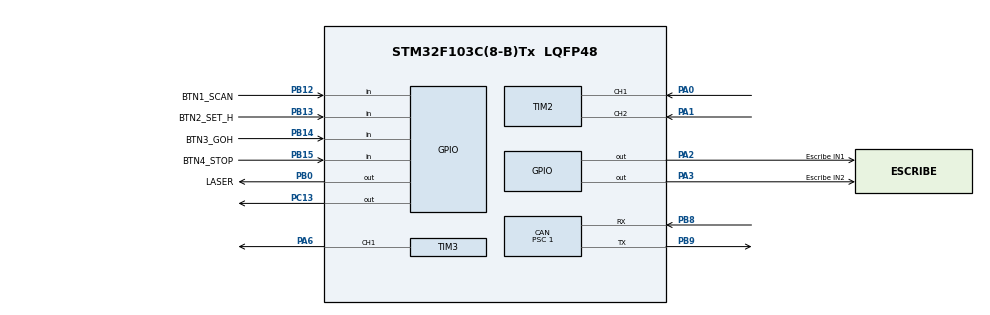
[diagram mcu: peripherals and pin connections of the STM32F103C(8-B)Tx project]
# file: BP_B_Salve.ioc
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CAN.BS1=CAN_BS1_13TQ
CAN.BS2=CAN_BS2_2TQ
CAN.CalculateBaudRate=500000
CAN.CalculateTimeBit=2000
CAN.CalculateTimeQuantum=125.0
CAN.Prescaler=1
Mcu.Family=STM32F1
Mcu.Name=STM32F103C(8-B)Tx
Mcu.Package=LQFP48
NVIC.PriorityGroup=NVIC_PRIORITYGROUP_4
PA0-WKUP.Signal=S_TIM2_CH1_ETR
PA1.Signal=S_TIM2_CH2
PA13.Mode=Serial_Wire
PA13.Signal=SYS_JTMS-SWDIO
PA14.Mode=Serial_Wire
PA14.Signal=SYS_JTCK-SWCLK
PA2.GPIO_Label=Escribe IN1
PA2.Signal=GPIO_Output
PA3.GPIO_Label=Escribe IN2
PA3.Signal=GPIO_Output
PA6.Signal=S_TIM3_CH1
PB0.GPIO_Label=LASER
PB0.Signal=GPIO_Output
PB12.GPIO_Label=BTN1_SCAN
PB12.GPIO_PuPd=GPIO_PULLUP
PB12.Signal=GPIO_Input
PB13.GPIO_Label=BTN2_SET_H
PB13.GPIO_PuPd=GPIO_PULLUP
PB13.Signal=GPIO_Input
PB14.GPIO_Label=BTN3_GOH
PB14.GPIO_PuPd=GPIO_PULLUP
PB14.Signal=GPIO_Input
PB15.GPIO_Label=BTN4_STOP
PB15.GPIO_PuPd=GPIO_PULLUP
PB15.Signal=GPIO_Input
PB8.Mode=CAN_Activate
PB8.Signal=CAN_RX
PB9.Mode=CAN_Activate
PB9.Signal=CAN_TX
PC13-TAMPER-RTC.PinState=GPIO_PIN_SET
PC13-TAMPER-RTC.Signal=GPIO_Output
PD0-OSC_IN.Mode=HSE-External-Oscillator
PD0-OSC_IN.Signal=RCC_OSC_IN
PD1-OSC_OUT.Mode=HSE-External-Oscillator
PD1-OSC_OUT.Signal=RCC_OSC_OUT
ProjectManager.HeapSize=0x200
ProjectManager.StackSize=0x400
ProjectManager.TargetToolchain=STM32CubeIDE
RCC.APB1Freq_Value=8000000
RCC.APB2Freq_Value=8000000
SH.S_TIM2_CH1_ETR.0=TIM2_CH1,Encoder_Interface
SH.S_TIM2_CH2.0=TIM2_CH2,Encoder_Interface
SH.S_TIM3_CH1.0=TIM3_CH1,PWM Generation1 CH1
TIM2.IC1Filter=6
TIM3.AutoReloadPreload=TIM_AUTORELOAD_PRELOAD_ENABLE
TIM3.Channel-PWM\ Generation1\ CH1=TIM_CHANNEL_1
TIM3.Period=999
TIM3.Prescaler=71
board=custom

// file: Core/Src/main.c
/* USER CODE BEGIN Header */
/**
  ******************************************************************************
  * @file           : main.c
  * @brief          : Main program body
  ******************************************************************************
  * @attention
  *
  * Copyright (c) 2026 STMicroelectronics.
  * All rights reserved.
  *
  * This software is licensed under terms that can be found in the LICENSE file
  * in the root directory of this software component.
  * If no LICENSE file comes with this software, it is provided AS-IS.
  *
  ******************************************************************************
  */
/* USER CODE END Header */
#include "main.h"
#include "can.h"
#include "tim.h"
#include "gpio.h"

/* USER CODE BEGIN Includes */
#include <stdlib.h>
/* USER CODE END Includes */

/* USER CODE BEGIN PTD */
typedef enum {
  STATE_IDLE = 0,
  STATE_SCANNING,
  STATE_HOMING_LOCKED,
  STATE_GO_TO_HOME,
  STATE_ERROR_LIMIT
} SystemState_t;

typedef enum {
  SCAN_PHASE_FORWARD = 0,   /* Girando hacia adelante (+2 vueltas) */
  SCAN_PHASE_PAUSE_FWD,     /* Pausa de 1s con motor frenado */
  SCAN_PHASE_REVERSE,       /* Girando hacia atrás (-2 vueltas) */
  SCAN_PHASE_PAUSE_REV      /* Pausa de 1s con motor frenado */
} ScanPhase_t;
/* USER CODE END PTD */

/* USER CODE BEGIN PD */
/* --- PARÁMETROS DEL ENCODER, TORNILLO SIN FIN Y ENGRANAJE --- */
#define ENCODER_PPR            30     /* Pulsos por revolución del eje del motor */
/* En modo TI1 (x2) se generan 2 cuentas en el timer por cada pulso */
#define TICKS_PER_MOTOR_REV    (ENCODER_PPR * 2) /* 60 cuentas por 1 vuelta del motor */

/* Transmisión: Tornillo sin fin (1 entrada) -> Engranaje de 40 dientes (Radio = 15 mm)
 * 1 vuelta del tornillo sin fin avanza 1 diente del engranaje (relación 40:1).
 * Por lo tanto, 1 vuelta del engranaje = 40 vueltas del motor = 2400 ticks. */
#define WORM_STARTS            1      /* Entradas del tornillo sin fin */
#define GEAR_TEETH             40     /* Dientes del engranaje conducido */
#define GEAR_RADIUS_MM         15     /* Radio del engranaje (centro a cabeza de diente): 15 mm */
#define TICKS_PER_GEAR_REV     ((TICKS_PER_MOTOR_REV * GEAR_TEETH) / WORM_STARTS) /* 2400 cuentas por vuelta de engranaje */

#define SWEEP_GEAR_REVS        2      /* 2 vueltas completas del ENGRANAJE hacia cada sentido */
#define SWEEP_TARGET_TICKS     (TICKS_PER_GEAR_REV * SWEEP_GEAR_REVS) /* 4800 ticks (80 vueltas de motor) */
#define SWEEP_PAUSE_MS         1000   /* 1 segundo de retardo antes de cambiar de sentido */
#define SWEEP_DUTY             700    /* Fuerza de barrido en 700 (70% sobre 999) */

/* --- IMPULSO DE ARRANQUE (KICK-START PARA VENCER FRICCIÓN ESTÁTICA) --- */
#define KICK_DUTY              950    /* Golpe inicial de fuerza (95% sobre 999) al salir del reposo */
#define KICK_TIME_MS           35     /* Duración del empujón inicial en milisegundos */

/* Límite de seguridad amplio para permitir las 80 vueltas de motor (4800 ticks) con holgura */
#define MAX_ENCODER_LIMIT      25000

/* --- PARÁMETROS DEL CONTROLADOR DE POSICIÓN (IR A HOME) --- */
#define POS_DEADBAND_TICKS     5      /* Tolerancia de llegada en pulsos */
#define POS_MIN_DUTY           550    /* Fuerza mínima para vencer fricción en retorno */
#define POS_MAX_DUTY           700    /* Velocidad máxima de retorno */
#define GO_HOME_TIMEOUT_MS     30000  /* 30 s de tiempo máximo para desandar hasta 2 vueltas de engranaje */

#define ENCODER_POLARITY       1      /* Polaridad de encoder */
/* USER CODE END PD */

/* USER CODE BEGIN PV */
/* Estado del sistema y variables de posición */
volatile SystemState_t current_state = STATE_IDLE;
volatile int32_t total_encoder_ticks = 0;   /* Posición acumulada en 32 bits (anti-desbordamiento) */
volatile int16_t last_timer_cnt = 0;        /* Última lectura directa de CNT (16 bits) */
volatile int32_t home_position = 0;         /* Posición de referencia fijada */

/* Variables para el barrido oscilante por PPR */
volatile ScanPhase_t scan_phase = SCAN_PHASE_FORWARD;
int32_t leg_start_ticks = 0;                /* Posición de inicio de cada tramo de giro */
uint32_t scan_pause_timer = 0;              /* Temporizador no bloqueante para el delay de 1s */

/* Variables para control inteligente y anti-embalamiento de Go to Home */
volatile int8_t motor_dir_sign = 1;         /* Signo de dirección de motor (+1 o -1 auto-calibrado) */
int32_t go_home_initial_error = 0;
uint32_t go_home_start_time = 0;

/* Seguimiento del sentido actual del motor para el impulso de arranque (kick-start) */
int8_t current_motor_dir = 0;               /* 0: frenado, 1: adelante, -1: atrás */

/* Estados de anti-rebote no bloqueante para los 4 pulsadores locales */
uint8_t btn1_last = GPIO_PIN_SET;
uint8_t btn2_last = GPIO_PIN_SET;
uint8_t btn3_last = GPIO_PIN_SET;
uint8_t btn4_last = GPIO_PIN_SET;
uint32_t btn1_debounce_time = 0;
uint32_t btn2_debounce_time = 0;
uint32_t btn3_debounce_time = 0;
uint32_t btn4_debounce_time = 0;
/* USER CODE END PV */

void SystemClock_Config(void);
/* USER CODE BEGIN PFP */
void Motor_SetSpeed(int16_t speed);
void Encoder_Update(void);
uint8_t Button_Pressed(GPIO_TypeDef* port, uint16_t pin, uint8_t *last_state, uint32_t *last_time);
void CAN_Filter_Config(void);
void CAN_ProcessRxMessages(void);
/* USER CODE END PFP */

/* USER CODE BEGIN 0 */
/**
  * @brief  Ajusta el sentido de giro y la velocidad del motor DC con el puente H L298N.
  *         Incluye un "empujón" (kick-start) automático al arrancar desde reposo o cambiar
  *         de sentido para vencer la fricción estática del motor.
  * @param  speed: Valor entre -999 y +999
  */
void Motor_SetSpeed(int16_t speed)
{
  if (speed > 999) speed = 999;
  if (speed < -999) speed = -999;

  if (speed > 0)
  {
    HAL_GPIO_WritePin(GPIOA, Escribe_IN1_Pin, GPIO_PIN_SET);
    HAL_GPIO_WritePin(GPIOA, Escribe_IN2_Pin, GPIO_PIN_RESET);

    /* Si estaba detenido o girando al revés, dar golpe de arranque para vencer inercia */
    if (current_motor_dir != 1)
    {
      current_motor_dir = 1;
      if (speed < KICK_DUTY && KICK_TIME_MS > 0)
      {
        __HAL_TIM_SET_COMPARE(&htim3, TIM_CHANNEL_1, KICK_DUTY);
        HAL_Delay(KICK_TIME_MS);
      }
    }
    __HAL_TIM_SET_COMPARE(&htim3, TIM_CHANNEL_1, (uint32_t)speed);
  }
  else if (speed < 0)
  {
    HAL_GPIO_WritePin(GPIOA, Escribe_IN1_Pin, GPIO_PIN_RESET);
    HAL_GPIO_WritePin(GPIOA, Escribe_IN2_Pin, GPIO_PIN_SET);

    /* Si estaba detenido o girando al revés, dar golpe de arranque para vencer inercia */
    if (current_motor_dir != -1)
    {
      current_motor_dir = -1;
      if ((-speed) < KICK_DUTY && KICK_TIME_MS > 0)
      {
        __HAL_TIM_SET_COMPARE(&htim3, TIM_CHANNEL_1, KICK_DUTY);
        HAL_Delay(KICK_TIME_MS);
      }
    }
    __HAL_TIM_SET_COMPARE(&htim3, TIM_CHANNEL_1, (uint32_t)(-speed));
  }
  else
  {
    /* Freno activo */
    current_motor_dir = 0;
    HAL_GPIO_WritePin(GPIOA, Escribe_IN1_Pin, GPIO_PIN_RESET);
    HAL_GPIO_WritePin(GPIOA, Escribe_IN2_Pin, GPIO_PIN_RESET);
    __HAL_TIM_SET_COMPARE(&htim3, TIM_CHANNEL_1, 0);
  }
}

/**
  * @brief  Calcula los pulsos acumulados en 32 bits a partir de los 16 bits de TIM2
  */
void Encoder_Update(void)
{
  int16_t current_cnt = (int16_t)__HAL_TIM_GET_COUNTER(&htim2);
  int16_t delta = current_cnt - last_timer_cnt;
  last_timer_cnt = current_cnt;
  total_encoder_ticks += (ENCODER_POLARITY * delta);
}

/**
  * @brief  Detector de pulsación (flanco de bajada) con anti-rebote no bloqueante
  */
uint8_t Button_Pressed(GPIO_TypeDef* port, uint16_t pin, uint8_t *last_state, uint32_t *last_time)
{
  uint8_t current = HAL_GPIO_ReadPin(port, pin);
  uint8_t triggered = 0;

  if (current != *last_state)
  {
    if ((HAL_GetTick() - *last_time) > 40)
    {
      *last_time = HAL_GetTick();
      if (current == GPIO_PIN_RESET && *last_state == GPIO_PIN_SET)
      {
        triggered = 1;
      }
      *last_state = current;
    }
  }
  return triggered;
}

/**
  * @brief  Configuración del filtro CAN para recibir todos los mensajes en FIFO0
  */
void CAN_Filter_Config(void)
{
  CAN_FilterTypeDef sFilterConfig;

  sFilterConfig.FilterBank = 0;
  sFilterConfig.FilterMode = CAN_FILTERMODE_IDMASK;
  sFilterConfig.FilterScale = CAN_FILTERSCALE_32BIT;
  sFilterConfig.FilterIdHigh = 0x0000;
  sFilterConfig.FilterIdLow = 0x0000;
  sFilterConfig.FilterMaskIdHigh = 0x0000;
  sFilterConfig.FilterMaskIdLow = 0x0000;
  sFilterConfig.FilterFIFOAssignment = CAN_RX_FIFO0;
  sFilterConfig.FilterActivation = ENABLE;
  sFilterConfig.SlaveStartFilterBank = 14;

  if (HAL_CAN_ConfigFilter(&hcan, &sFilterConfig) != HAL_OK)
  {
    Error_Handler();
  }
}

/**
  * @brief  Procesa todos los mensajes pendientes en el FIFO0 de recepción CAN
  */
void CAN_ProcessRxMessages(void)
{
  CAN_RxHeaderTypeDef rxHeader;
  uint8_t rxData[8];

  while (HAL_CAN_GetRxFifoFillLevel(&hcan, CAN_RX_FIFO0) > 0)
  {
    if (HAL_CAN_GetRxMessage(&hcan, CAN_RX_FIFO0, &rxHeader, rxData) == HAL_OK)
    {
      /* Identificador 0x020 enviado por la Blue Pill A */
      if (rxHeader.StdId == 0x020 && rxHeader.DLC >= 1)
      {
        if (rxData[0] == 0x01)
        {
          HAL_GPIO_WritePin(LASER_GPIO_Port, LASER_Pin, GPIO_PIN_SET);   /* Encender LED PB0 */
        }
        else if (rxData[0] == 0x00)
        {
          HAL_GPIO_WritePin(LASER_GPIO_Port, LASER_Pin, GPIO_PIN_RESET); /* Apagar LED PB0 */
        }
      }
    }
    else
    {
      break;
    }
  }
}

/**
  * @brief  Callback de interrupción al recibir un frame CAN en el FIFO0
  */
void HAL_CAN_RxFifo0MsgPendingCallback(CAN_HandleTypeDef *hcanInstance)
{
  UNUSED(hcanInstance);
  CAN_ProcessRxMessages();
}
/* USER CODE END 0 */

int main(void)
{

  /* MCU Configuration--------------------------------------------------------*/

  /* Reset of all peripherals, Initializes the Flash interface and the Systick. */
  HAL_Init();

  /* Configure the system clock */
  SystemClock_Config();

  /* Initialize all configured peripherals */
  MX_GPIO_Init();
  MX_TIM2_Init();
  MX_TIM3_Init();
  MX_CAN_Init();
  /* USER CODE BEGIN 2 */
  /* Iniciar PWM de velocidad de motor (TIM3 Canal 1 en PA6 -> ENA del L298N) */
  HAL_TIM_PWM_Start(&htim3, TIM_CHANNEL_1);

  /* Iniciar lectura de Encoder en TIM2 (PA0 y PA1) */
  HAL_TIM_Encoder_Start(&htim2, TIM_CHANNEL_ALL);

  /* Iniciar periférico CAN y activar interrupciones de recepción */
  CAN_Filter_Config();
  if (HAL_CAN_Start(&hcan) != HAL_OK)
  {
    Error_Handler();
  }
  if (HAL_CAN_ActivateNotification(&hcan, CAN_IT_RX_FIFO0_MSG_PENDING) != HAL_OK)
  {
    Error_Handler();
  }

  /* Asegurar actuadores apagados al arrancar */
  Motor_SetSpeed(0);
  HAL_GPIO_WritePin(LASER_GPIO_Port, LASER_Pin, GPIO_PIN_RESET);

  /* Resetear contadores de posición y variables de referencia */
  __HAL_TIM_SET_COUNTER(&htim2, 0);
  last_timer_cnt = 0;
  total_encoder_ticks = 0;
  home_position = 0;
  current_state = STATE_IDLE;
  /* USER CODE END 2 */

  /* Infinite loop */
  /* USER CODE BEGIN WHILE */
  while (1)
  {
    /* 0. Verificar si llegaron mensajes por CAN en el FIFO0 (respaldo por polling + interrupción) */
    CAN_ProcessRxMessages();

    /* 1. Actualizar el conteo continuo del encoder (32 bits anti-desbordamiento) */
    Encoder_Update();

    /* 2. Lectura no bloqueante con anti-rebote de los 4 pulsadores locales */
    uint8_t btn1 = Button_Pressed(BTN1_SCAN_GPIO_Port, BTN1_SCAN_Pin, &btn1_last, &btn1_debounce_time);
    uint8_t btn2 = Button_Pressed(BTN2_SET_H_GPIO_Port, BTN2_SET_H_Pin, &btn2_last, &btn2_debounce_time);
    uint8_t btn3 = Button_Pressed(BTN3_GOH_GPIO_Port, BTN3_GOH_Pin, &btn3_last, &btn3_debounce_time);
    uint8_t btn4 = Button_Pressed(BTN4_STOP_GPIO_Port, BTN4_STOP_Pin, &btn4_last, &btn4_debounce_time);

    /* 3. PARADA DE EMERGENCIA / STOP (BTN4 tiene prioridad sobre cualquier estado) */
    if (btn4)
    {
      Motor_SetSpeed(0);
      current_state = STATE_IDLE;
    }

    /* 4. VERIFICACIÓN DE LÍMITE DE SEGURIDAD */
    if (current_state == STATE_SCANNING || current_state == STATE_GO_TO_HOME)
    {
      if (abs(total_encoder_ticks - home_position) >= MAX_ENCODER_LIMIT)
      {
        Motor_SetSpeed(0);
        current_state = STATE_ERROR_LIMIT;
      }
    }

    /* 5. MÁQUINA DE ESTADOS */
    switch (current_state)
    {
      case STATE_IDLE:
        Motor_SetSpeed(0);
        HAL_GPIO_WritePin(GPIOC, GPIO_PIN_13, GPIO_PIN_SET); /* LED PC13 apagado en reposo */

        /* BTN1: Iniciar barrido oscilante basado en vueltas (PPR) */
        if (btn1)
        {
          leg_start_ticks = total_encoder_ticks; /* Origen de este tramo */
          scan_phase = SCAN_PHASE_FORWARD;
          Motor_SetSpeed(SWEEP_DUTY);
          current_state = STATE_SCANNING;
        }
        /* BTN2: Fijar Home en reposo si se desea calibrar aquí */
        else if (btn2)
        {
          total_encoder_ticks = 0;
          home_position = 0;
          __HAL_TIM_SET_COUNTER(&htim2, 0);
          last_timer_cnt = 0;
          current_state = STATE_HOMING_LOCKED;
        }
        /* BTN3: Regresar a la posición de Home memorizada */
        else if (btn3)
        {
          go_home_initial_error = abs(home_position - total_encoder_ticks);
          go_home_start_time = HAL_GetTick();
          current_state = STATE_GO_TO_HOME;
        }
        break;

      case STATE_SCANNING:
        HAL_GPIO_WritePin(GPIOC, GPIO_PIN_13, GPIO_PIN_RESET); /* LED PC13 encendido mientras escanea */

        /* Sub-máquina de estados de barrido por vueltas (PPR) */
        switch (scan_phase)
        {
          case SCAN_PHASE_FORWARD:
            Motor_SetSpeed(SWEEP_DUTY);
            /* Verificar si completó 2 vueltas relativas hacia adelante */
            if (abs(total_encoder_ticks - leg_start_ticks) >= SWEEP_TARGET_TICKS)
            {
              Motor_SetSpeed(0); /* Freno activo */
              scan_pause_timer = HAL_GetTick();
              scan_phase = SCAN_PHASE_PAUSE_FWD;
            }
            break;

          case SCAN_PHASE_PAUSE_FWD:
            Motor_SetSpeed(0); /* Freno durante el delay de 1 segundo */
            if (HAL_GetTick() - scan_pause_timer >= SWEEP_PAUSE_MS)
            {
              leg_start_ticks = total_encoder_ticks; /* Origen para el tramo en reversa */
              Motor_SetSpeed(-SWEEP_DUTY); /* Iniciar giro en reversa con fuerza */
              scan_phase = SCAN_PHASE_REVERSE;
            }
            break;

          case SCAN_PHASE_REVERSE:
            Motor_SetSpeed(-SWEEP_DUTY);
            /* Verificar si completó 2 vueltas relativas hacia atrás */
            if (abs(total_encoder_ticks - leg_start_ticks) >= SWEEP_TARGET_TICKS)
            {
              Motor_SetSpeed(0); /* Freno activo */
              scan_pause_timer = HAL_GetTick();
              scan_phase = SCAN_PHASE_PAUSE_REV;
            }
            break;

          case SCAN_PHASE_PAUSE_REV:
            Motor_SetSpeed(0); /* Freno durante el delay de 1 segundo */
            if (HAL_GetTick() - scan_pause_timer >= SWEEP_PAUSE_MS)
            {
              leg_start_ticks = total_encoder_ticks; /* Origen para el siguiente tramo adelante */
              Motor_SetSpeed(SWEEP_DUTY); /* Reiniciar giro hacia adelante */
              scan_phase = SCAN_PHASE_FORWARD;
            }
            break;
        }

        /* BTN2: Fijar Home */
        if (btn2)
        {
          Motor_SetSpeed(0);

          /* Fijar el origen de coordenadas exactamente en este punto */
          total_encoder_ticks = 0;
          home_position = 0;
          __HAL_TIM_SET_COUNTER(&htim2, 0);
          last_timer_cnt = 0;

          current_state = STATE_HOMING_LOCKED;
        }
        break;

      case STATE_HOMING_LOCKED:
        /* Señalización visual: destello breve del LED integrado */
        Motor_SetSpeed(0);
        HAL_GPIO_WritePin(GPIOC, GPIO_PIN_13, GPIO_PIN_RESET);
        HAL_Delay(150);
        HAL_GPIO_WritePin(GPIOC, GPIO_PIN_13, GPIO_PIN_SET);
        current_state = STATE_IDLE; /* Regresa a reposo con el cero memorizado */
        break;

      case STATE_GO_TO_HOME:
        HAL_GPIO_WritePin(GPIOC, GPIO_PIN_13, GPIO_PIN_RESET);

        {
          /* Error de posición respecto al origen fijado (0) */
          int32_t error = home_position - total_encoder_ticks;
          int32_t abs_err = abs(error);

          /* 1. Verificación de llegada dentro de la zona muerta */
          if (abs_err <= POS_DEADBAND_TICKS)
          {
            Motor_SetSpeed(0);
            current_state = STATE_IDLE; /* Posición alcanzada con precisión */
          }
          else
          {
            /* 2. Detección y auto-corrección de sentido invertido (anti-embalamiento) */
            if (abs_err > (go_home_initial_error + 30))
            {
              motor_dir_sign = -motor_dir_sign;
              go_home_initial_error = abs_err;
            }

            /* 3. Timeout de seguridad: tiempo suficiente para desandar las 2 vueltas del engranaje */
            if (HAL_GetTick() - go_home_start_time > GO_HOME_TIMEOUT_MS)
            {
              Motor_SetSpeed(0);
              current_state = STATE_IDLE;
            }

            /* 4. Velocidad proporcional: POS_MIN_DUTY cerca, POS_MAX_DUTY si está más lejos */
            int16_t speed = POS_MIN_DUTY;
            if (abs_err > 40)
            {
              speed = POS_MAX_DUTY;
            }

            /* 5. Comandar motor con corrección de signo */
            if (error > 0)
            {
              Motor_SetSpeed(motor_dir_sign * speed);
            }
            else
            {
              Motor_SetSpeed(-motor_dir_sign * speed);
            }
          }
        }
        break;

      case STATE_ERROR_LIMIT:
        Motor_SetSpeed(0);
        /* Parpadeo continuo de advertencia */
        HAL_GPIO_TogglePin(GPIOC, GPIO_PIN_13);
        HAL_Delay(100);

        /* Salir del estado de error al presionar STOP (BTN4) o BTN1 */
        if (btn4 || btn1)
        {
          total_encoder_ticks = 0;
          home_position = 0;
          current_state = STATE_IDLE;
        }
        break;

      default:
        current_state = STATE_IDLE;
        break;
    }

    HAL_Delay(5);
    /* USER CODE END WHILE */

  }
}

void SystemClock_Config(void)
{
  RCC_OscInitTypeDef RCC_OscInitStruct = {0};
  RCC_ClkInitTypeDef RCC_ClkInitStruct = {0};

  /** Initializes the RCC Oscillators according to the specified parameters
  * in the RCC_OscInitTypeDef structure.
  */
  RCC_OscInitStruct.OscillatorType = RCC_OSCILLATORTYPE_HSI;
  RCC_OscInitStruct.HSIState = RCC_HSI_ON;
  RCC_OscInitStruct.HSICalibrationValue = RCC_HSICALIBRATION_DEFAULT;
  RCC_OscInitStruct.PLL.PLLState = RCC_PLL_NONE;
  if (HAL_RCC_OscConfig(&RCC_OscInitStruct) != HAL_OK)
  {
    Error_Handler();
  }

  /** Initializes the CPU, AHB and APB buses clocks
  */
  RCC_ClkInitStruct.ClockType = RCC_CLOCKTYPE_HCLK|RCC_CLOCKTYPE_SYSCLK
                              |RCC_CLOCKTYPE_PCLK1|RCC_CLOCKTYPE_PCLK2;
  RCC_ClkInitStruct.SYSCLKSource = RCC_SYSCLKSOURCE_HSI;
  RCC_ClkInitStruct.AHBCLKDivider = RCC_SYSCLK_DIV1;
  RCC_ClkInitStruct.APB1CLKDivider = RCC_HCLK_DIV1;
  RCC_ClkInitStruct.APB2CLKDivider = RCC_HCLK_DIV1;

  if (HAL_RCC_ClockConfig(&RCC_ClkInitStruct, FLASH_LATENCY_0) != HAL_OK)
  {
    Error_Handler();
  }
}

void Error_Handler(void)
{
  __disable_irq();
  while (1)
  {
  }
}
